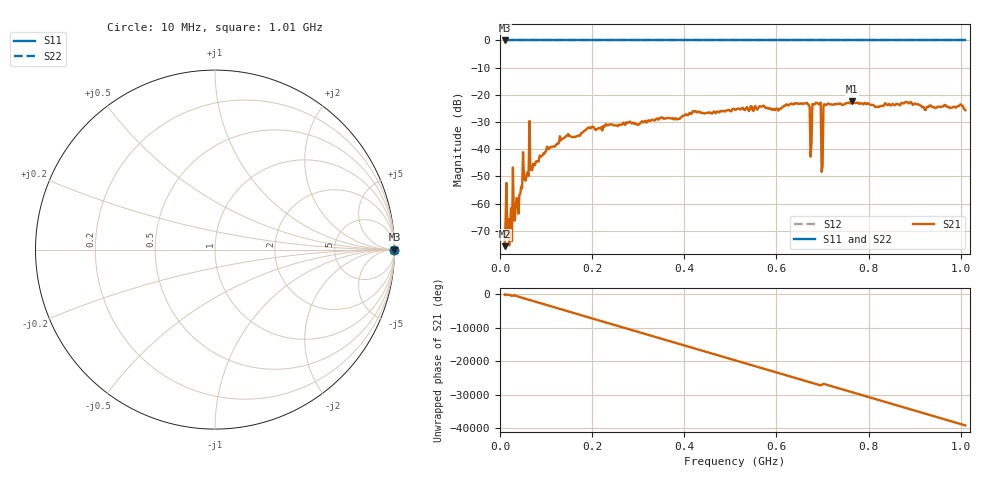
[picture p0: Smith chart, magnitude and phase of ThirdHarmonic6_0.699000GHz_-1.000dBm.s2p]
! 8/15/2025 11:21:41 PM
! C:\ANRITSUVNA\TEMP\TEMP.S2P
! CHANNEL.1
! TR.MEASUREMENT
! RAW.DATA
! RF.CORRECTION.OFF
! AVERAGING.OFF
! IF.BANDWIDTH: 5KHZ
! SWEEPTYPE:  FREQ.SWEEP(Linear)
! Reference Plane Port Info
! PORT:  PORT1  PORT2
! DISTANCE:  0  m  0  m
! TIME:  0  s  0  s
! PHASE.OFFSET:  0  deg.  0  deg.
! LOSS:  0  dB  0  dB
! REF.LOSS:  0  dB  0  dB
! REF.FREQ:  0  Hz  0  Hz
! Power Info
! POWER:  -20  dBm  -20  dBm
! EFF.POWER:  -20  dBm  -20  dBm
! SOURCE.ATTEN:  0  dB  0  dB
! TEST.ATTEN:  0  dB  0  dB
# GHZ S RI R 50.0
! FREQ.GHZ  S11RE  S11IM  S21RE  S21IM  S12RE  S12IM  S22RE  S22IM
!; PortSelection: Port_12
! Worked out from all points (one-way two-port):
!   501 points, 10 MHz to 1.01 GHz, reference 50 ohm
!   highest |S21| = -22.44 dB at 764 MHz (marker M1); lowest = -75.6 dB at 10 MHz (marker M2)
!   lowest |S11| = 0.0 dB at 10 MHz (marker M3)
!   |S11| at or under -10 dB: nowhere
!   |S22| runs from 0.0 to 0.0 dB; largest |S21 - S12| = 1.1
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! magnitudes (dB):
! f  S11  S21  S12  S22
! 10 MHz  0.0  -75.6  0.0  0.0
! 22 MHz  0.0  -67.0  0.0  0.0
! 32 MHz  0.0  -66.3  0.0  0.0
! 36 MHz  0.0  -58.0  0.0  0.0
! 48 MHz  0.0  -54.4  0.0  0.0
! 68 MHz  0.0  -47.6  0.0  0.0
! 70 MHz  0.0  -47.7  0.0  0.0
! 134 MHz  0.0  -36.4  0.0  0.0
! 178 MHz  0.0  -33.9  0.0  0.0
! 344 MHz  0.0  -29.2  0.0  0.0
! 510 MHz  0.0  -25.5  0.0  0.0
! 662 MHz  0.0  -23.2  0.0  0.0
! 672 MHz  0.0  -24.4  0.0  0.0
! 678 MHz  0.0  -23.4  0.0  0.0
! 682 MHz  0.0  -23.6  0.0  0.0
! 692 MHz  0.0  -23.5  0.0  0.0
! 696 MHz  0.0  -22.8  0.0  0.0
! 702 MHz  0.0  -24.0  0.0  0.0
! 706 MHz  0.0  -23.8  0.0  0.0
! 764 MHz  0.0  -22.4  0.0  0.0
! 844 MHz  0.0  -23.3  0.0  0.0
! 1.01 GHz  0.0  -25.6  0.0  0.0
